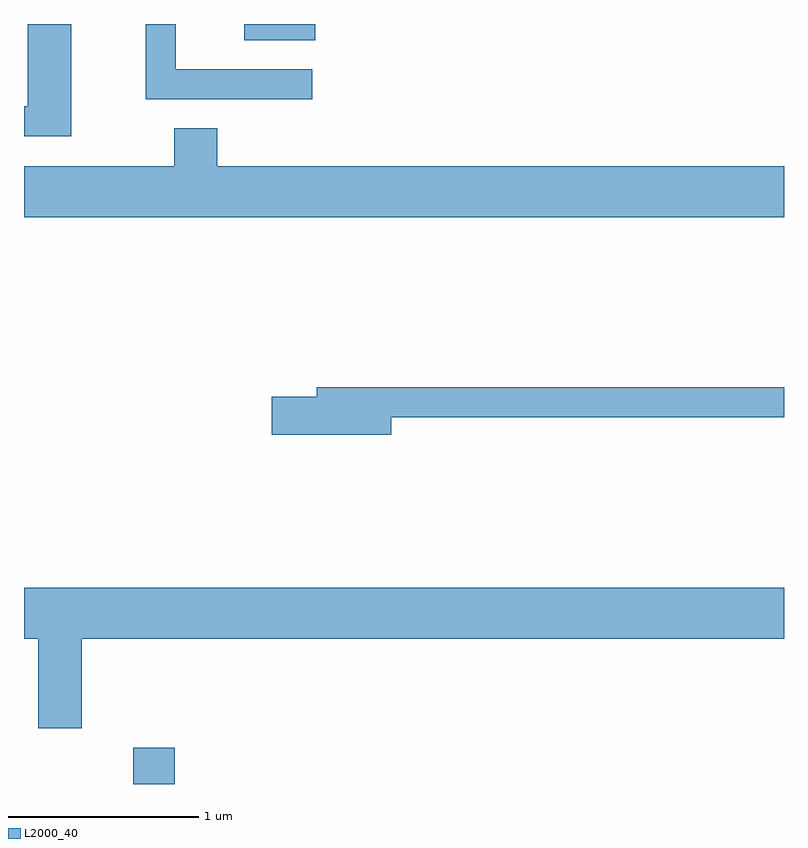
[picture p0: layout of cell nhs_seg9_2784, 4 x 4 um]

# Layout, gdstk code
import gdstk
lib = gdstk.Library(unit=1e-6, precision=1e-09)
def R(c, l, rs):  # rectangles x0, y0, x1, y1
    for r in rs: c.add(gdstk.rectangle(r[:2], r[2:], *l))
def P(c, l, *ps):  # polygons
    for p in ps: c.add(gdstk.Polygon(p, *l))
L2000_40 = (2000, 40)

nhs_seg9_2784 = lib.new_cell('nhs_seg9_2784')
R(nhs_seg9_2784, L2000_40, [(268.186,1944.432,268.404,1944.624)])
P(nhs_seg9_2784, L2000_40, [(267.859,1948.432),(267.631,1948.432),(267.631,1947.999),(267.611,1947.999),(267.611,1947.841),(267.859,1947.841)],
  [(269.144,1948.432),(268.576,1948.432),(268.576,1948.431),(268.771,1948.431),(268.771,1948.346),(269.144,1948.346)],
  [(269.128,1948.194),(268.409,1948.194),(268.409,1948.432),(268.251,1948.432),(268.251,1948.036),(269.128,1948.036)],
  [(271.611,1947.684),(268.629,1947.684),(268.629,1947.884),(268.401,1947.884),(268.401,1947.684),(267.611,1947.684),(267.611,1947.416),(271.611,1947.416)],
  [(269.544,1946.361),(271.611,1946.361),(271.611,1946.519),(269.151,1946.519),(269.151,1946.469),(268.916,1946.469),(268.916,1946.271),(269.544,1946.271)],
  [(267.914,1945.196),(271.611,1945.196),(271.611,1945.464),(267.611,1945.464),(267.611,1945.196),(267.686,1945.196),(267.686,1944.726),(267.914,1944.726)])

lib.write_gds('nhs_seg9_2784.gds')
